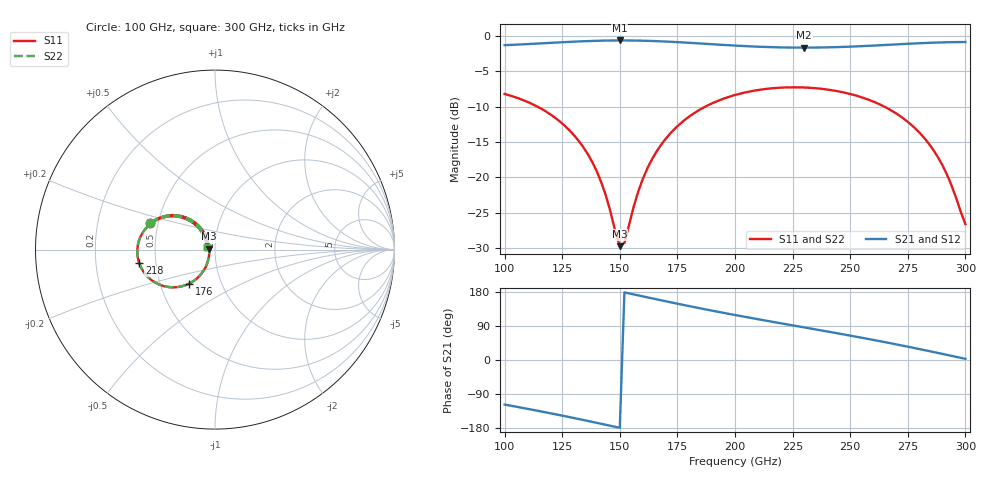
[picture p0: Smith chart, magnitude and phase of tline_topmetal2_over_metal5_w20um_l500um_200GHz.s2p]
#  GHZ S DB R 50
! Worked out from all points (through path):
!   101 points, 100 GHz to 300 GHz, reference 50 ohm
!   highest |S21| = -0.65 dB at 150 GHz (marker M1); lowest = -1.7 dB at 230 GHz (marker M2)
!   group delay of S21, straight-line fit = 3.29 ps
!   lowest |S11| = -29.7 dB at 150 GHz (marker M3), VSWR 1.07, Z = 46.9 + j0.495 ohm
!   |S11| at or under -10 dB: 114.3 GHz to 187.1 GHz (72.85 GHz wide, 48.3 % of centre); 264.8 GHz to end of sweep
!   |S22| runs from -29.6 to -7.3 dB; largest |S21 - S12| = 1.1e-14
!   S11 on the Smith chart (normalised r, x): 100 GHz: 0.45, +0.16; 176 GHz: 0.70, -0.28; 218 GHz: 0.40, -0.08; 300 GHz: 0.91, +0.03
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100  -8.21 157.6  -1.31 -117.6  -1.31 -117.6  -8.20 157.6
120  -11.12 136.9  -0.98 -140.7  -0.98 -140.7  -11.12 137.0
128  -13.29 129.3  -0.85 -150.5  -0.85 -150.5  -13.29 129.4
134  -15.65 124.6  -0.76 -158.1  -0.76 -158.1  -15.64 124.7
142  -20.70 123.6  -0.68 -168.4  -0.68 -168.4  -20.69 123.9
150  -29.70 170.7  -0.65 -178.9  -0.65 -178.9  -29.58 170.9
152  -29.24 -157.2  -0.65 178.4  -0.65 178.4  -29.13 -157.5
156  -24.16 -125.6  -0.66 173.2  -0.66 173.2  -24.13 -126.0
160  -20.19 -118.7  -0.68 167.9  -0.68 167.9  -20.18 -119.0
168  -15.35 -120.5  -0.77 157.5  -0.77 157.5  -15.35 -120.6
176  -12.47 -127.2  -0.90 147.3  -0.90 147.3  -12.47 -127.3
186  -10.19 -137.2  -1.10 135.1  -1.10 135.1  -10.19 -137.3
200  -8.35 -151.6  -1.37 118.7  -1.37 118.7  -8.35 -151.7
218  -7.35 -169.7  -1.61 98.9  -1.61 98.9  -7.35 -169.8
230  -7.29 178.5  -1.66 86.1  -1.66 86.1  -7.29 178.4
234  -7.37 174.5  -1.65 81.8  -1.65 81.8  -7.37 174.4
252  -8.38 156.9  -1.49 62.1  -1.49 62.1  -8.39 156.7
268  -10.56 141.2  -1.24 43.6  -1.24 43.6  -10.57 141.0
278  -13.00 132.4  -1.07 31.4  -1.07 31.4  -13.01 132.1
286  -16.07 127.6  -0.96 21.3  -0.96 21.3  -16.08 127.2
292  -19.59 128.6  -0.90 13.5  -0.90 13.5  -19.63 128.0
300  -26.59 162.1  -0.87 3.1  -0.87 3.1  -26.82 161.5
